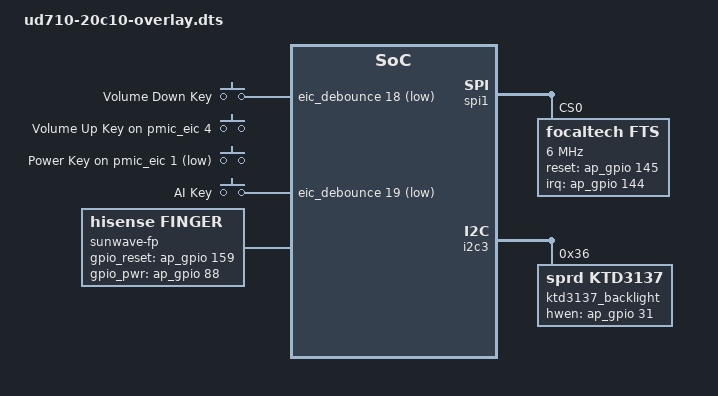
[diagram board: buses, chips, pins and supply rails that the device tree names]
/dts-v1/;
/plugin/;

#include <dt-bindings/input/input.h>
#include <dt-bindings/gpio/gpio.h>

/ {
	fragment {
		target-path = "/";
		__overlay__ {

			gpio-keys {
				compatible = "gpio-keys";

				key-volumedown {
					label = "Volume Down Key";
					linux,code = <KEY_VOLUMEDOWN>;
					gpios = <&eic_debounce 18 GPIO_ACTIVE_LOW>;
					debounce-interval = <2>;
					wakeup-source;
				};

				key-volumeup {
					label = "Volume Up Key";
					linux,code = <KEY_VOLUMEUP>;
					gpios = <&pmic_eic 4 GPIO_ACTIVE_HIGH>;
					debounce-interval = <2>;
					wakeup-source;
				};

				key-power {
					label = "Power Key";
					linux,code = <KEY_POWER>;
					gpios = <&pmic_eic 1 GPIO_ACTIVE_LOW>;
					debounce-interval = <2>;
					wakeup-source;
				};

				key-ai {
					label = "AI Key";
					linux,code = <766>;
					gpios = <&eic_debounce 19 GPIO_ACTIVE_LOW>;
					debounce-interval = <2>;
					wakeup-source;
				};
			};

			sunwave-fp {
				compatible = "hisense,finger";
				sunwave,gpio_reset = <&ap_gpio 159 0>;
				sunwave,gpio_irq = <&eic_async 20 0>;
				sunwave,gpio_pwr = <&ap_gpio 88 0>;
			};
		};
	};
};

&spi1 {
	status = "okay";

	focaltech@0 {
		compatible = "focaltech,fts";
		reg = <0x0>;
		focaltech,reset-gpio = <&ap_gpio 145 GPIO_ACTIVE_HIGH>;
		focaltech,irq-gpio = <&ap_gpio 144 GPIO_ACTIVE_HIGH>;
		focaltech,max-touch-number = <5>;
		focaltech,display-coords =  <0 0 720 1600>;
		spi-max-frequency = <6000000>;
	};
};

&i2c3 {
	status = "okay";
	ktd3137_backlight: backlight@36 {
		status = "okay";
		compatible = "sprd,ktd3137";
		reg = <0x36>;
		hwen-gpio = <&ap_gpio 31 GPIO_ACTIVE_HIGH>;
		ktd,using-lsb;
		ktd,using-linear;
		ktd,bl-fscal-led = <0x99>;/*default 20.2mA*/
		ktd,turn-on-ramp = <0>; /* Should add ms value, please check datasheet*/
		ktd,turn-off-ramp = <0>;  /* Should add ms value, please check datasheet*/
		ktd,i2c-trans-dim = <0>;  /* Should add ms value, please check datasheet*/
		ktd,bl-channel = <2>;
		ktd,ovp-level = <32>; /*default 32v*/
		ktd,inductor-current = <1800>; /*dfault 2600mA*/
		ktd,switching-frequency = <1000>;/*dfault 1000KHz*/
	};
};

&panel {
	sprd,backlight = <&ktd3137_backlight>;
};

&ddr_dfs {
	sprd-scene = "boost", "lcdon", "lcdoff", "camlow",
		"camhigh", "camveryhigh";
	sprd-freq = <1333 768 256 384 667 1536>;
};
